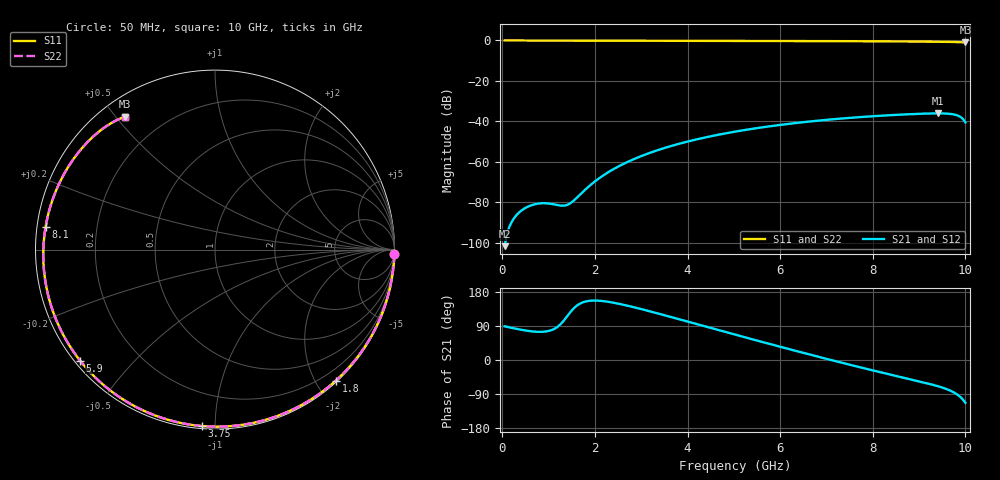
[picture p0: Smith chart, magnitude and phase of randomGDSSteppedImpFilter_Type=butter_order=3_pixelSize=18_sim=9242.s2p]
! freq	dB(S11)	phase(S11)	dB(S12)	phase(S12)
!  dB(S21)	phase(S21)	dB(S22)	phase(S22)
!S-par simulation data
#  GHz  S  DB  R 50
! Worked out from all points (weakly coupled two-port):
!   200 points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, 50 MHz to 10 GHz, reference 50 ohm
!   highest |S21| = -36.07 dB at 9.4 GHz (marker M1); lowest = -101.7 dB at 50 MHz (marker M2)
!   lowest |S11| = -1.0 dB at 10 GHz (marker M3), VSWR 17.85, Z = 3.59 + j26.5 ohm
!   |S11| at or under -10 dB: nowhere
!   |S22| runs from -1.0 to 0.0 dB; largest |S21 - S12| = 0
!   S11 on the Smith chart (normalised r, x): 50 MHz: 0, -84; 1.8 GHz: 0.02, -2.28; 3.75 GHz: 0.01, -0.93; 5.9 GHz: 0.02, -0.36; 8.1 GHz: 0.02, +0.07; 10 GHz: 0.07, +0.53
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0.05  -0.00 -1.4  -101.73 88.9  -101.73 88.9  -0.00 -1.4
0.75  -0.03 -20.0  -80.77 74.4  -80.77 74.4  -0.03 -20.0
1.5  -0.05 -39.7  -80.00 130.6  -80.00 130.6  -0.05 -39.7
1.75  -0.06 -46.1  -74.68 152.6  -74.68 152.6  -0.06 -46.1
1.8  -0.06 -47.3  -73.61 154.4  -73.61 154.4  -0.06 -47.3
2.1  -0.07 -54.9  -68.01 156.3  -68.01 156.3  -0.07 -54.9
2.45  -0.08 -63.5  -63.01 150.0  -63.01 150.0  -0.08 -63.5
2.9  -0.09 -74.4  -58.11 137.5  -58.11 137.5  -0.09 -74.4
3.4  -0.11 -86.1  -53.92 121.5  -53.92 121.5  -0.11 -86.1
3.75  -0.12 -94.1  -51.52 109.9  -51.52 109.9  -0.12 -94.1
4.4  -0.15 -108.6  -47.87 88.0  -47.87 88.0  -0.15 -108.6
5.05  -0.18 -122.6  -45.00 66.2  -45.00 66.2  -0.18 -122.7
5.9  -0.23 -140.6  -42.06 38.2  -42.06 38.2  -0.23 -140.6
6.7  -0.29 -157.4  -39.93 12.5  -39.93 12.5  -0.29 -157.4
7.4  -0.35 -172.2  -38.47 -9.3  -38.47 -9.3  -0.35 -172.3
8.1  -0.42 172.4  -37.33 -30.4  -37.33 -30.4  -0.42 172.4
8.35  -0.45 166.8  -36.99 -37.6  -36.99 -37.6  -0.45 166.8
8.9  -0.53 153.9  -36.37 -53.4  -36.37 -53.4  -0.53 153.9
9.4  -0.62 141.3  -36.07 -68.9  -36.07 -68.9  -0.62 141.3
9.8  -0.79 130.1  -36.87 -89.1  -36.87 -89.1  -0.79 130.1
9.9  -0.86 127.1  -37.90 -98.6  -37.90 -98.6  -0.87 127.1
10  -0.97 124.0  -40.53 -112.8  -40.53 -112.8  -0.98 124.0
